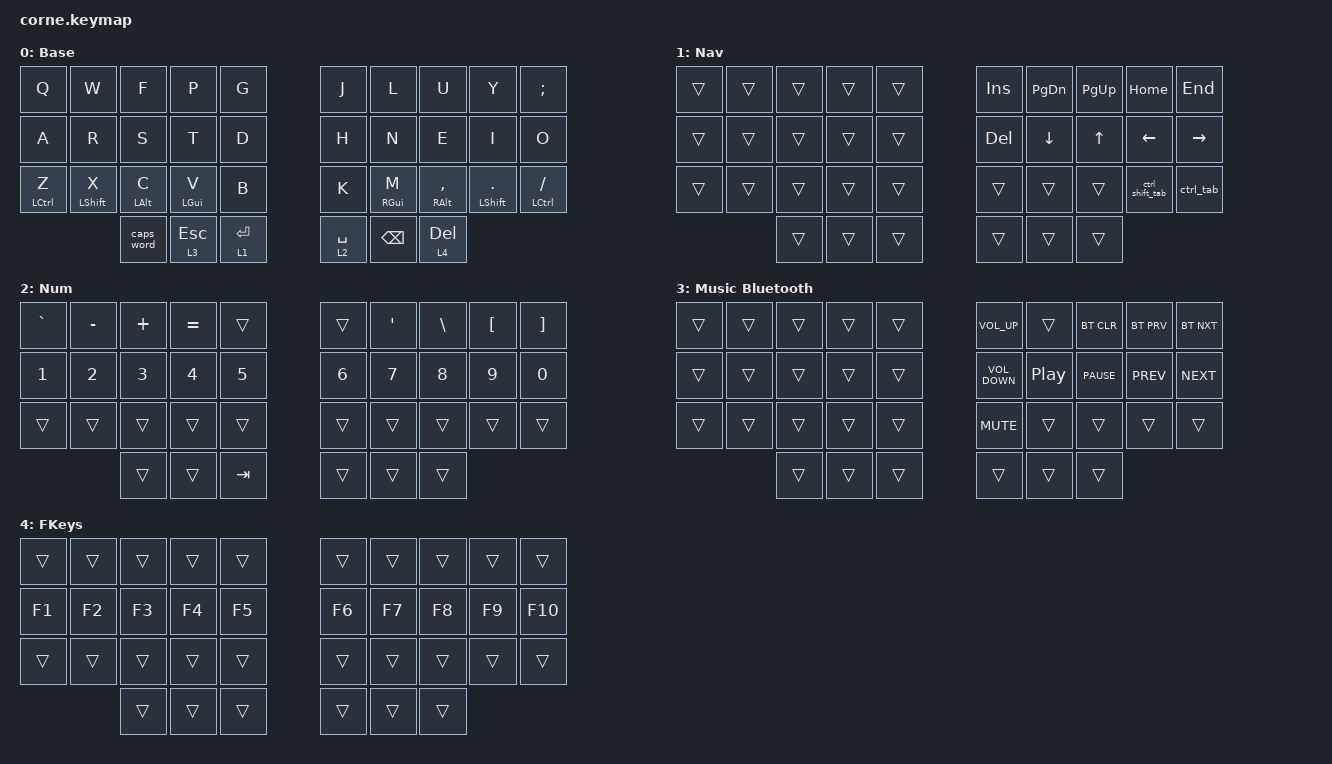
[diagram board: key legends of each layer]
/*
 * Copyright (c) 2020 The ZMK Contributors
 *
 * SPDX-License-Identifier: MIT
 */

#include <behaviors.dtsi>
#include <dt-bindings/zmk/bt.h>
#include <dt-bindings/zmk/keys.h>

/ {
    macros {
        ctrl_tab: ctrl_tab {
            compatible = "zmk,behavior-macro";
            #binding-cells = <0>;
            bindings =
                <&macro_press>,
                <&kp LCTRL>,
                <&macro_tap>,
                <&kp TAB>,
                <&macro_release>,
                <&kp LCTRL>;
        };

        ctrl_shift_tab: ctrl_shift_tab {
            compatible = "zmk,behavior-macro";
            #binding-cells = <0>;
            bindings =
                <&macro_press>,
                <&kp LCTRL &kp LSHIFT>,
                <&macro_tap>,
                <&kp TAB>,
                <&macro_release>,
                <&kp LSHIFT &kp LCTRL>;
        };
    };

    chosen { zmk,physical-layout = &foostan_corne_5col_layout; };

    behaviors {
        hml: hml {
            compatible = "zmk,behavior-hold-tap";
            label = "HML";
            bindings = <&kp>, <&kp>;

            #binding-cells = <2>;
            tapping-term-ms = <200>;
            quick-tap-ms = <175>;
            require-prior-idle-ms = <150>;
            flavor = "balanced";
            hold-trigger-on-release;
            hold-trigger-key-positions = <5 6 7 8 9 15 16 17 18 19 25 26 27 28 29 33 34 35>;
        };

        hmr: hmr {
            compatible = "zmk,behavior-hold-tap";
            label = "HMR";
            bindings = <&kp>, <&kp>;

            #binding-cells = <2>;
            tapping-term-ms = <200>;
            quick-tap-ms = <175>;
            require-prior-idle-ms = <150>;
            flavor = "balanced";
            hold-trigger-on-release;
            hold-trigger-key-positions = <0 1 2 3 4 10 11 12 13 14 20 21 22 23 24 30 31 32>;
        };
    };

    combos {
        compatible = "zmk,combos";

        caps {
            bindings = <&kp CAPS>;
            key-positions = <30 35>;
        };
    };

    keymap {
        compatible = "zmk,keymap";

        default_layer {
            display-name = "Base";
            bindings = <
&kp Q         &kp W          &kp F        &kp P        &kp G        &kp J        &kp L          &kp U            &kp Y               &kp SEMI
&kp A         &kp R          &kp S        &kp T        &kp D        &kp H        &kp N          &kp E            &kp I               &kp O
&hml LCTRL Z  &hml LSHIFT X  &hml LALT C  &hml LGUI V  &kp B        &kp K        &hmr RGUI M    &hmr RALT COMMA  &hmr LSHIFT PERIOD  &hmr LCTRL SLASH
                             &caps_word   &lt 3 ESC    &lt 1 RET    &lt 2 SPACE  &kp BACKSPACE  &lt 4 DEL
            >;
        };

        nav_layer {
            display-name = "Nav";
            bindings = <
&trans  &trans  &trans  &trans  &trans    &kp INSERT  &kp PAGE_DOWN  &kp PAGE_UP  &kp HOME         &kp END
&trans  &trans  &trans  &trans  &trans    &kp DELETE  &kp DOWN       &kp UP       &kp LEFT         &kp RIGHT
&trans  &trans  &trans  &trans  &trans    &trans      &trans         &trans       &ctrl_shift_tab  &ctrl_tab
                &trans  &trans  &trans    &trans      &trans         &trans
            >;
        };

        num_layer {
            display-name = "Num";
            bindings = <
&kp GRAVE  &kp MINUS  &kp PLUS  &kp EQUAL  &trans     &trans  &kp APOSTROPHE  &kp BACKSLASH  &kp LBKT  &kp RBKT
&kp N1     &kp N2     &kp N3    &kp N4     &kp N5     &kp N6  &kp N7          &kp N8         &kp N9    &kp N0
&trans     &trans     &trans    &trans     &trans     &trans  &trans          &trans         &trans    &trans
                      &trans    &trans     &kp TAB    &trans  &trans          &trans
            >;
        };

        music_bt_layer {
            display-name = "Music Bluetooth";
            bindings = <
&trans  &trans  &trans  &trans  &trans    &kp C_VOLUME_UP    &trans            &bt BT_CLR   &bt BT_PRV  &bt BT_NXT
&trans  &trans  &trans  &trans  &trans    &kp C_VOLUME_DOWN  &kp C_PLAY_PAUSE  &kp C_PAUSE  &kp C_PREV  &kp C_NEXT
&trans  &trans  &trans  &trans  &trans    &kp C_MUTE         &trans            &trans       &trans      &trans
                &trans  &trans  &trans    &trans             &trans            &trans
            >;
        };

        fkey {
            display-name = "FKeys";
            bindings = <
&trans  &trans  &trans  &trans  &trans    &trans  &trans  &trans  &trans  &trans
&kp F1  &kp F2  &kp F3  &kp F4  &kp F5    &kp F6  &kp F7  &kp F8  &kp F9  &kp F10
&trans  &trans  &trans  &trans  &trans    &trans  &trans  &trans  &trans  &trans
                &trans  &trans  &trans    &trans  &trans  &trans
            >;
        };
    };
};
